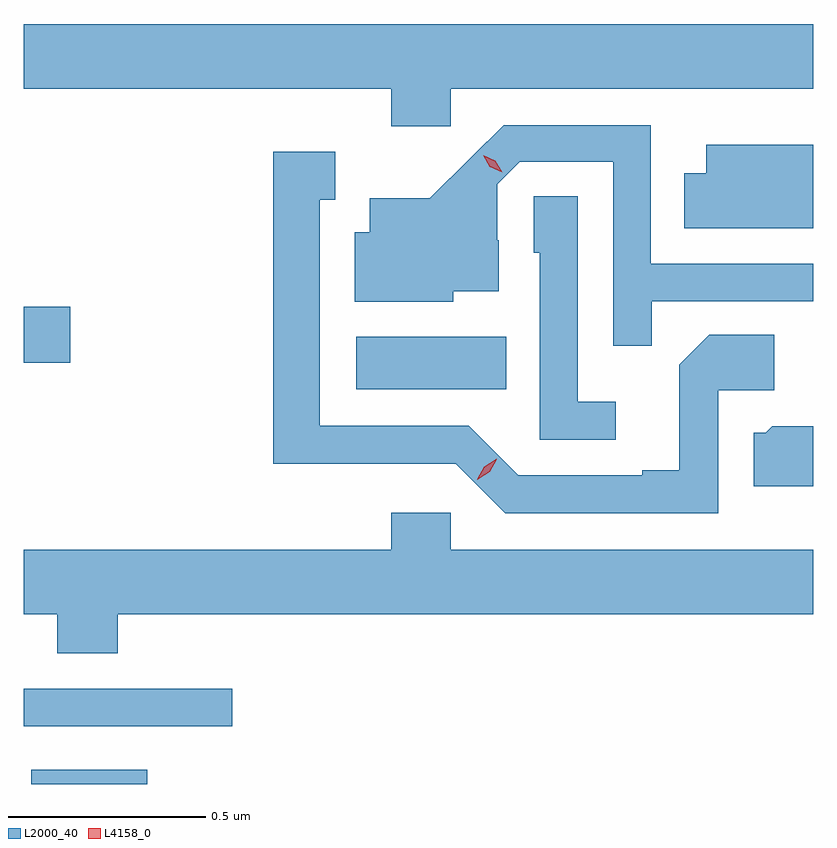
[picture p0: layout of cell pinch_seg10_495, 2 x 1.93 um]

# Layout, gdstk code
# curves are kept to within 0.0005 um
import gdstk
lib = gdstk.Library(unit=1e-6, precision=1e-09)
def R(c, l, rs):  # rectangles x0, y0, x1, y1
    for r in rs: c.add(gdstk.rectangle(r[:2], r[2:], *l))
def P(c, l, *ps):  # polygons
    for p in ps: c.add(gdstk.Polygon(p, *l))
L2000_40 = (2000, 40)
L4158_0 = (4158, 0)

pinch_seg10_495 = lib.new_cell('pinch_seg10_495')
R(pinch_seg10_495, L2000_40, [(324.587,1293.226,324.88,1293.262), (324.568,1293.372,325.096,1293.468), (325.41,1294.226,325.79,1294.36), (324.568,1294.294,324.685,1294.436)])
P(pinch_seg10_495, L2000_40, [(325.65,1294.988),(326.568,1294.988),(326.568,1295.152),(324.568,1295.152),(324.568,1294.988),(325.499,1294.988),(325.499,1294.893),(325.65,1294.893)],
  [(326.159,1294.449),(326.568,1294.449),(326.568,1294.545),(326.157,1294.545),(326.157,1294.896),(325.784,1294.896),(325.597,1294.711),(325.445,1294.711),(325.445,1294.624),(325.406,1294.624),(325.406,1294.448),(325.656,1294.448),(325.656,1294.475),(325.771,1294.475),(325.771,1294.604),(325.767,1294.604),(325.767,1294.746),(325.824,1294.803),(326.061,1294.803),(326.061,1294.336),(326.159,1294.336)],
  [(326.568,1294.846),(326.297,1294.846),(326.297,1294.774),(326.242,1294.774),(326.242,1294.634),(326.568,1294.634)],
  [(326.328,1294.224),(326.47,1294.224),(326.47,1294.364),(326.305,1294.364),(326.229,1294.288),(326.229,1294.021),(326.135,1294.021),(326.135,1294.008),(325.821,1294.008),(325.695,1294.134),(325.318,1294.134),(325.318,1294.707),(325.357,1294.707),(325.357,1294.828),(325.2,1294.828),(325.2,1294.037),(325.44,1294.037),(325.44,1294.038),(325.662,1294.038),(325.788,1293.912),(326.328,1293.912)],
  [(326.068,1294.195),(325.971,1294.195),(325.971,1294.715),(325.86,1294.715),(325.86,1294.572),(325.875,1294.572),(325.875,1294.098),(326.068,1294.098)],
  [(326.568,1294.132),(326.464,1294.132),(326.448,1294.116),(326.417,1294.116),(326.417,1293.98),(326.568,1293.98)],
  [(324.806,1293.656),(326.568,1293.656),(326.568,1293.82),(325.65,1293.82),(325.65,1293.913),(325.499,1293.913),(325.499,1293.82),(324.568,1293.82),(324.568,1293.656),(324.653,1293.656),(324.653,1293.557),(324.806,1293.557)])
P(pinch_seg10_495, L4158_0, [(325.78,1294.776),(325.749,1294.79),(325.732,1294.82),(325.732,1294.82),(325.732,1294.82),(325.763,1294.805),(325.78,1294.776),(325.78,1294.776)],
  [(325.717,1293.997),(325.717,1293.998),(325.734,1294.03),(325.766,1294.05),(325.766,1294.05),(325.766,1294.049),(325.749,1294.017),(325.717,1293.997)])

lib.write_gds('pinch_seg10_495.gds')
